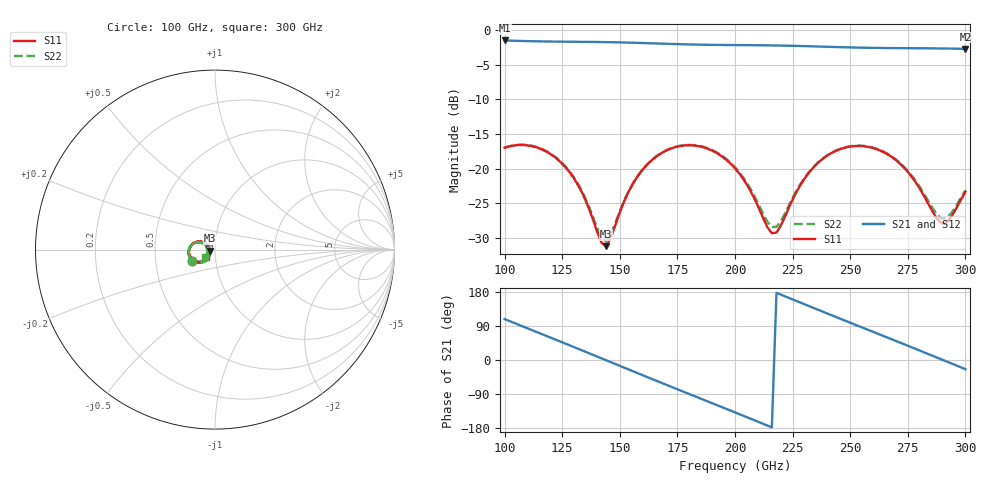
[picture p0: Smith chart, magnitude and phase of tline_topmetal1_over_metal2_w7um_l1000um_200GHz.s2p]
#  GHZ S DB R 50
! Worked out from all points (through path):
!   101 points, 100 GHz to 300 GHz, reference 50 ohm
!   highest |S21| = -1.51 dB at 100 GHz (marker M1); lowest = -2.7 dB at 300 GHz (marker M2)
!   group delay of S21, straight-line fit = 6.83 ps
!   lowest |S11| = -31.2 dB at 144 GHz (marker M3), VSWR 1.06, Z = 47.4 - j0.603 ohm
!   |S11| at or under -10 dB: start of sweep to end of sweep
!   |S22| runs from -30.5 to -16.5 dB; largest |S21 - S12| = 9.5e-14
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100  -16.99 -152.8  -1.51 108.0  -1.51 108.0  -16.95 -152.5
108  -16.58 -169.9  -1.59 88.3  -1.59 88.3  -16.53 -169.2
116  -17.18 173.4  -1.65 68.7  -1.65 68.7  -17.12 174.4
126  -19.62 154.8  -1.69 44.2  -1.69 44.2  -19.51 156.3
134  -23.71 146.3  -1.71 24.4  -1.71 24.4  -23.50 148.4
142  -30.63 172.5  -1.74 4.5  -1.74 4.5  -29.95 173.7
144  -31.16 -166.7  -1.75 -0.5  -1.75 -0.5  -30.47 -167.4
156  -21.99 -129.4  -1.84 -30.4  -1.84 -30.4  -21.93 -130.0
168  -17.76 -147.9  -1.97 -60.1  -1.97 -60.1  -17.72 -147.5
176  -16.74 -163.3  -2.05 -79.7  -2.05 -79.7  -16.69 -162.5
184  -16.73 -178.9  -2.11 -99.2  -2.11 -99.2  -16.67 -177.7
200  -19.93 153.7  -2.18 -138.3  -2.18 -138.3  -19.78 155.8
216  -29.29 -179.4  -2.23 -177.8  -2.23 -177.8  -28.41 -178.8
218  -29.19 -163.2  -2.24 177.2  -2.24 177.2  -28.37 -164.5
224  -25.15 -136.5  -2.28 162.4  -2.28 162.4  -24.86 -138.8
234  -19.83 -139.7  -2.36 137.6  -2.36 137.6  -19.76 -140.5
250  -16.80 -166.4  -2.51 98.4  -2.51 98.4  -16.75 -165.9
258  -16.86 179.1  -2.57 79.0  -2.57 79.0  -16.80 180.0
268  -18.30 162.3  -2.61 54.7  -2.61 54.7  -18.21 163.8
280  -22.75 151.6  -2.63 25.3  -2.63 25.3  -22.51 153.9
290  -27.89 -177.5  -2.67 0.6  -2.67 0.6  -27.20 -176.9
300  -23.34 -140.7  -2.73 -24.1  -2.73 -24.1  -23.11 -142.0
